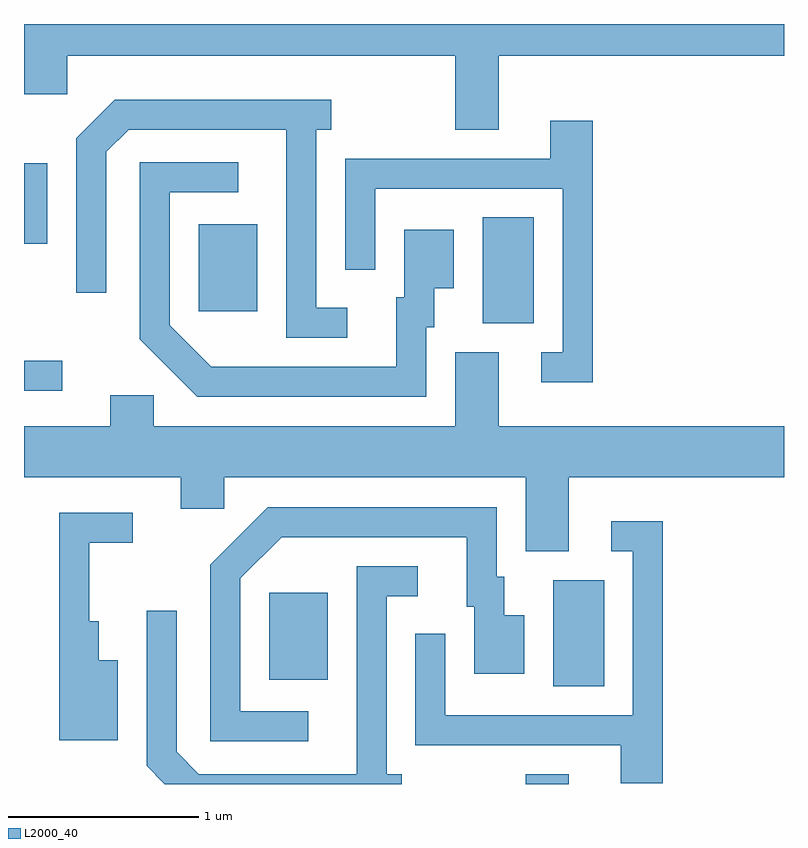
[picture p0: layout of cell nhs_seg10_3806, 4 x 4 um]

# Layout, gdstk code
import gdstk
lib = gdstk.Library(unit=1e-6, precision=1e-09)
def R(c, l, rs):  # rectangles x0, y0, x1, y1
    for r in rs: c.add(gdstk.rectangle(r[:2], r[2:], *l))
def P(c, l, *ps):  # polygons
    for p in ps: c.add(gdstk.Polygon(p, *l))
L2000_40 = (2000, 40)

nhs_seg10_3806 = lib.new_cell('nhs_seg10_3806')
R(nhs_seg10_3806, L2000_40, [(300.251,2114.522,300.479,2114.574), (300.396,2115.036,300.664,2115.594), (298.901,2115.071,299.209,2115.529), (297.611,2116.591,297.813,2116.749), (300.026,2116.946,300.294,2117.504), (298.531,2117.011,298.839,2117.469), (297.611,2117.366,297.734,2117.789)])
P(nhs_seg10_3806, L2000_40, [(300.109,2118.356),(301.611,2118.356),(301.611,2118.522),(297.611,2118.522),(297.611,2118.151),(297.839,2118.151),(297.839,2118.356),(299.881,2118.356),(299.881,2117.966),(300.109,2117.966)],
  [(299.313,2117.029),(299.149,2117.029),(299.149,2117.966),(299.228,2117.966),(299.228,2118.124),(298.089,2118.124),(297.886,2117.922),(297.886,2117.108),(298.044,2117.108),(298.044,2117.849),(298.162,2117.966),(298.991,2117.966),(298.991,2116.871),(299.313,2116.871)],
  [(300.604,2118.014),(300.381,2118.014),(300.381,2117.814),(299.301,2117.814),(299.301,2117.228),(299.459,2117.228),(299.459,2117.656),(300.446,2117.656),(300.446,2116.794),(300.333,2116.794),(300.333,2116.636),(300.604,2116.636)],
  [(299.729,2116.926),(299.769,2116.926),(299.769,2117.131),(299.874,2117.131),(299.874,2117.439),(299.611,2117.439),(299.611,2117.084),(299.571,2117.084),(299.571,2116.719),(298.597,2116.719),(298.379,2116.937),(298.379,2117.636),(298.738,2117.636),(298.738,2117.794),(298.221,2117.794),(298.221,2116.864),(298.524,2116.561),(299.729,2116.561)],
  [(300.479,2116.136),(301.611,2116.136),(301.611,2116.404),(300.109,2116.404),(300.109,2116.794),(299.881,2116.794),(299.881,2116.404),(298.294,2116.404),(298.294,2116.569),(298.066,2116.569),(298.066,2116.404),(297.611,2116.404),(297.611,2116.136),(298.436,2116.136),(298.436,2115.971),(298.664,2115.971),(298.664,2116.136),(300.251,2116.136),(300.251,2115.746),(300.479,2115.746)],
  [(299.108,2114.904),(298.749,2114.904),(298.749,2115.604),(298.967,2115.821),(299.941,2115.821),(299.941,2115.456),(299.981,2115.456),(299.981,2115.101),(300.244,2115.101),(300.244,2115.409),(300.139,2115.409),(300.139,2115.614),(300.099,2115.614),(300.099,2115.979),(298.894,2115.979),(298.591,2115.677),(298.591,2114.746),(299.108,2114.746)],
  [(298.104,2115.174),(298.004,2115.174),(298.004,2115.379),(297.954,2115.379),(297.954,2115.791),(298.183,2115.791),(298.183,2115.949),(297.796,2115.949),(297.796,2114.751),(298.104,2114.751)],
  [(300.974,2115.904),(300.703,2115.904),(300.703,2115.746),(300.816,2115.746),(300.816,2114.884),(299.829,2114.884),(299.829,2115.313),(299.671,2115.313),(299.671,2114.726),(300.751,2114.726),(300.751,2114.526),(300.974,2114.526)],
  [(299.598,2114.574),(299.519,2114.574),(299.519,2115.511),(299.683,2115.511),(299.683,2115.669),(299.361,2115.669),(299.361,2114.574),(298.532,2114.574),(298.414,2114.692),(298.414,2115.433),(298.256,2115.433),(298.256,2114.619),(298.353,2114.522),(299.598,2114.522)])

lib.write_gds('nhs_seg10_3806.gds')
